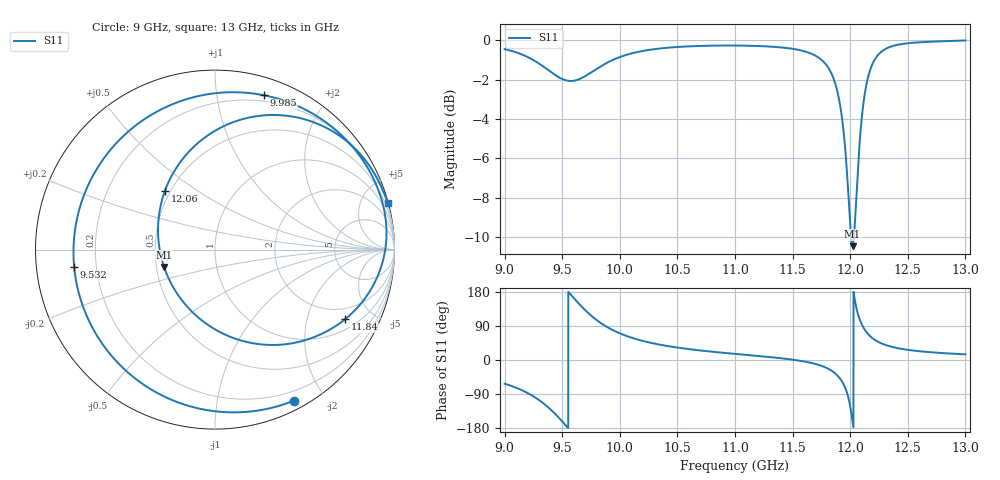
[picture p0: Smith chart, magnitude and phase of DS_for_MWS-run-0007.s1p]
! TOUCHSTONE file generated by CST DESIGN STUDIO
! Date and time: Tue Feb  4 16:15:26 2025
! Project name: C:\Work\MatlabApps\UnitCellOptimizationMatlab\CST\unitcell.cst
! Tree item: Tasks\Sweep1\SPara1\S-Parameters
! Header version: 2024
! Port assignment regex: !\s*Touchstone port\s*([0-9]+)\s*=\s*(CST MWS port|CST DES external port|CST DES block port)\s*(.+)\s* \(\"(.*)\"\)(\s*mode\s*([0-9]+))?.*
! Touchstone port assignment:
! Touchstone port 1 = CST DES external port 1 ("")
# GHz S MA R 50
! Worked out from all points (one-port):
!   4001 points, 9 GHz to 13 GHz, reference 50 ohm
!   lowest |S11| = -10.5 dB at 12.02 GHz (marker M1), VSWR 1.86, Z = 27.5 - j5.88 ohm
!   |S11| at or under -10 dB: 12.00761 GHz to 12.03254 GHz (24.93 MHz wide, 0.207 % of centre)
!   S11 on the Smith chart (normalised r, x): 9 GHz: 0.10, -1.64; 9.532 GHz: 0.12, -0.06; 9.985 GHz: 0.15, +1.36; 11.84 GHz: 1.43, -3.43; 12.06 GHz: 0.47, +0.37; 13 GHz: 0.05, +7.62
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9  0.9492 -62.5
9.144  0.9212 -78.9
9.294  0.8739 -104.7
9.396  0.8326 -129.6
9.5  0.7968 -161.9
9.532  0.7907 -172.8
9.626  0.7918 154.7
9.747  0.8266 118.2
9.852  0.8641 94.1
9.985  0.9024 72.3
10  0.9058 70.3
10.215  0.9406 49.1
10.5  0.9609 32.8
11  0.969 16.1
11.5  0.9506 0.9
11.715  0.9072 -11.9
11.838  0.822 -28.2
11.892  0.7334 -41.9
11.94  0.596 -62.7
12  0.3395 -122.1
12.02  0.2997 -161.0
12.059  0.4293 130.6
12.092  0.5975 99.7
12.127  0.7325 79.6
12.234  0.9112 49.4
12.34  0.9599 36.5
12.5  0.9821 26.8
13  0.9983 15.0
